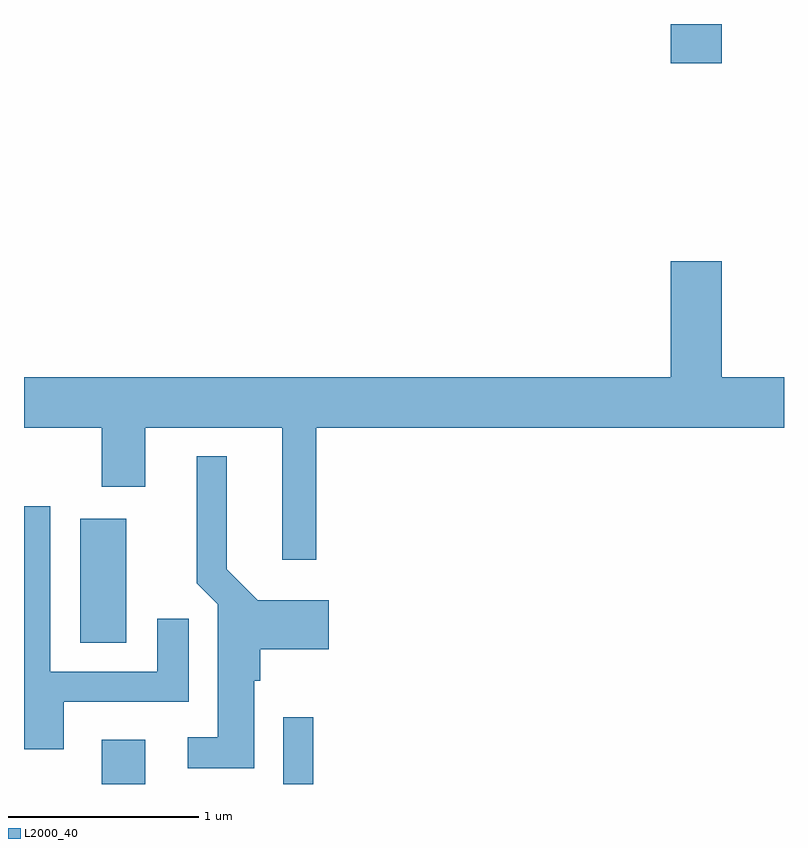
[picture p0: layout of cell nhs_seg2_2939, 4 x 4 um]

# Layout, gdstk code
import gdstk
lib = gdstk.Library(unit=1e-6, precision=1e-09)
def R(c, l, rs):  # rectangles x0, y0, x1, y1
    for r in rs: c.add(gdstk.rectangle(r[:2], r[2:], *l))
def P(c, l, *ps):  # polygons
    for p in ps: c.add(gdstk.Polygon(p, *l))
L2000_40 = (2000, 40)

nhs_seg2_2939 = lib.new_cell('nhs_seg2_2939')
R(nhs_seg2_2939, L2000_40, [(272.021,1019.802,272.249,1020.034), (272.976,1019.802,273.134,1020.153), (271.906,1020.546,272.149,1021.199), (275.016,1023.596,275.284,1023.802)])
P(nhs_seg2_2939, L2000_40, [(273.149,1021.676),(275.611,1021.676),(275.611,1021.944),(275.284,1021.944),(275.284,1022.554),(275.016,1022.554),(275.016,1021.944),(271.611,1021.944),(271.611,1021.676),(272.021,1021.676),(272.021,1021.366),(272.249,1021.366),(272.249,1021.676),(272.971,1021.676),(272.971,1020.981),(273.149,1020.981)],
  [(272.824,1020.346),(272.854,1020.346),(272.854,1020.511),(273.214,1020.511),(273.214,1020.769),(272.842,1020.769),(272.679,1020.932),(272.679,1021.528),(272.521,1021.528),(272.521,1020.859),(272.631,1020.749),(272.631,1020.049),(272.473,1020.049),(272.473,1019.886),(272.824,1019.886)],
  [(271.819,1020.236),(272.479,1020.236),(272.479,1020.673),(272.311,1020.673),(272.311,1020.394),(271.749,1020.394),(271.749,1021.264),(271.611,1021.264),(271.611,1019.986),(271.819,1019.986)])

lib.write_gds('nhs_seg2_2939.gds')
